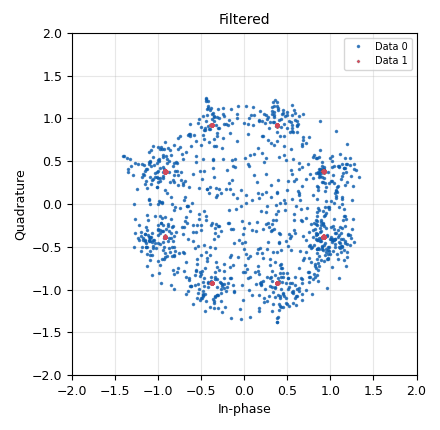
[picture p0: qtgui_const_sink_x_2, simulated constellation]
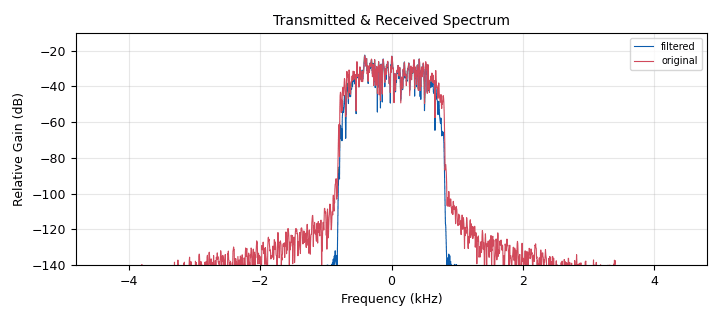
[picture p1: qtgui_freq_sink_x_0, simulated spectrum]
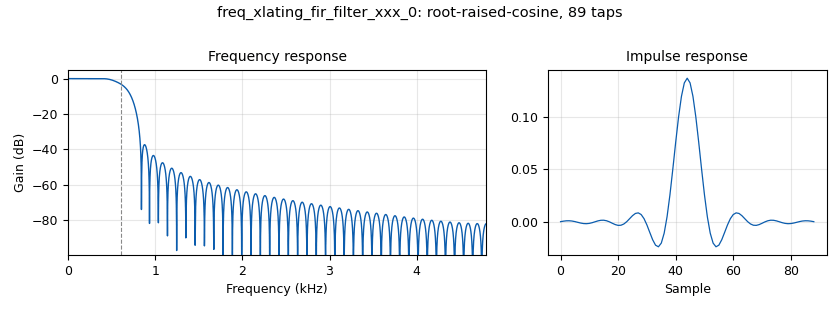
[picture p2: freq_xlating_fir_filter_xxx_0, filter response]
options:
  parameters:
    author: hyun
    generate_options: qt_gui
    id: psk8_create_v1
    output_language: python
    title: Not titled yet
  states: {}

blocks:
- name: epsilon
  id: variable_qtgui_range
  parameters:
    comment: |-
      Sets timing difference
      between transmitter
      and receiver due to
      variations in clocks.
    gui_hint: 0,10,1,10
    label: 'Channel: Timing Offset'
    orient: Qt.Horizontal
    start: '0.999'
    step: '0.0001'
    stop: '1.001'
    value: '1.000'
  states: {}
- name: excess_bw
  id: variable
  parameters:
    comment: |-
      # Power spectrum
      * 0.35: same to origin
      * 0.7 :  outside removed to origin
      * 0.87 :  more outside removed to origin

      # Constellation
      * 0.35: ok
      * 0.7 :  slim
      * 0.87 :  sharp
    value: 0.35*1
  states: {}
- name: freq_offset
  id: variable_qtgui_range
  parameters:
    comment: |-
      This accounts for differences
      in local oscillators as well as
      static Doppler shift.
    gui_hint: 1,0,1,10
    label: 'Channel: Frequency Offset'
    orient: Qt.Horizontal
    start: '-0.1'
    step: '0.001'
    stop: '0.1'
    value: '0.0'
  states: {}
- name: noise_volt
  id: variable_qtgui_range
  parameters:
    comment: |-
      Sets noise level of added
      Gaussian white noise (AWGN)
      added during transmission
      as well as antenna noise and
      LNA of receiver.
    gui_hint: 0,0,1,10
    label: 'Channel: Noise Voltage'
    orient: Qt.Horizontal
    start: '0'
    step: '0.01'
    stop: '1'
    value: '0.0'
  states: {}
- name: phase_bw
  id: variable
  parameters:
    value: 0.0628/2
  states: {}
- name: psk8
  id: variable_constellation
  parameters:
    const_points: '[1.00 + 0.00j, 0.71 + 0.71j, 0.00 + 1.00j,  -0.71 + 0.71j, -1.00 + 0.00j, -0.71 -0.71j, -0.00 -1.00j, 0.71 -0.71j]'
    precision: '8'
    sym_map: '[0, 1, 2, 3, 4, 5, 6, 7]'
    type: 8psk
  states: {}
- name: samp_rate
  id: variable
  parameters:
    value: '9600'
  states: {}
- name: sps
  id: variable
  parameters:
    value: '8'
  states: {}
- name: var_filter_taps
  id: variable_low_pass_filter_taps
  parameters:
    cutoff_freq: 2000-100
    gain: '1.0'
    samp_rate: samp_rate
    width: '80'
    win: firdes.WIN_HAMMING
  states: {state: disabled}
- name: var_filter_taps
  id: variable_rrc_filter_taps
  parameters:
    alpha: 0.35*1
    comment: |-
      better than LPF
      대여폭 바로 바깥을 더 많이 쳐버림
    gain: '1.0'
    ntaps: 11*sps
    samp_rate: samp_rate
    sym_rate: samp_rate/sps
  states: {}
- name: analog_random_source_x_0
  id: analog_random_source_x
  parameters:
    max: '256'
    min: '0'
    num_samps: '1024'
    repeat: 'True'
    type: byte
  states: {}
- name: blocks_repeat_0
  id: blocks_repeat
  parameters:
    interp: sps
    type: complex
  states: {}
- name: blocks_throttle_0
  id: blocks_throttle
  parameters:
    samples_per_second: samp_rate
    type: complex
  states: {}
- name: channels_channel_model_0
  id: channels_channel_model
  parameters:
    comment: Epsilon is timing offset
    epsilon: epsilon
    freq_offset: freq_offset
    noise_voltage: noise_volt
    seed: '0'
    taps: '1'
  states: {}
- name: digital_constellation_modulator_0
  id: digital_constellation_modulator
  parameters:
    constellation: psk8
    differential: 'False'
    excess_bw: excess_bw
    samples_per_symbol: sps
  states: {}
- name: digital_costas_loop_cc_0
  id: digital_costas_loop_cc
  parameters:
    order: '8'
    w: excess_bw
  states: {state: disabled}
- name: digital_symbol_sync_xx_0
  id: digital_symbol_sync_xx
  parameters:
    damping: '1.0'
    loop_bw: '0.045'
    max_dev: '1.5'
    osps: '1'
    resamp_type: digital.IR_MMSE_8TAP
    sps: sps
    ted_gain: '1.0'
    ted_type: digital.TED_SIGNAL_TIMES_SLOPE_ML
    type: cc
  states: {}
- name: freq_xlating_fir_filter_xxx_0
  id: freq_xlating_fir_filter_xxx
  parameters:
    center_freq: '0'
    decim: '1'
    samp_rate: samp_rate
    taps: var_filter_taps
    type: ccc
  states: {}
- name: qtgui_const_sink_x_2
  id: qtgui_const_sink_x
  parameters:
    marker1: '-1'
    name: '"Filtered"'
    nconnections: '2'
    size: '1024'
    type: complex
  states: {}
- name: qtgui_freq_sink_x_0
  id: qtgui_freq_sink_x
  parameters:
    bw: samp_rate
    fc: '0'
    fftsize: '2048'
    gui_hint: 12,0,10,20
    label1: filtered
    label2: original
    name: Transmitted & Received Spectrum
    nconnections: '2'
    type: complex
    wintype: firdes.WIN_BLACKMAN_hARRIS
    ymax: '-10'
  states: {}
- name: root_raised_cosine_filter_0
  id: root_raised_cosine_filter
  parameters:
    alpha: '0.35'
    decim: '1'
    gain: '1'
    ntaps: 11*sps
    samp_rate: samp_rate
    sym_rate: samp_rate/sps
    type: fir_filter_ccf
  states: {state: disabled}
- name: virtual_sink_0
  id: virtual_sink
  parameters:
    stream_id: filtered_signal
  states: {}
- name: virtual_sink_2
  id: virtual_sink
  parameters:
    stream_id: t1
  states: {}
- name: virtual_source_0
  id: virtual_source
  parameters:
    stream_id: filtered_signal
  states: {}
- name: virtual_source_0_0_0
  id: virtual_source
  parameters:
    stream_id: filtered_signal
  states: {}

connections:
- [analog_random_source_x_0, '0', digital_constellation_modulator_0, '0']
- [analog_random_source_x_0, '0', virtual_sink_2, '0']
- [blocks_repeat_0, '0', qtgui_const_sink_x_2, '1']
- [blocks_throttle_0, '0', channels_channel_model_0, '0']
- [channels_channel_model_0, '0', freq_xlating_fir_filter_xxx_0, '0']
- [channels_channel_model_0, '0', root_raised_cosine_filter_0, '0']
- [digital_constellation_modulator_0, '0', blocks_throttle_0, '0']
- [digital_constellation_modulator_0, '0', qtgui_const_sink_x_2, '0']
- [digital_constellation_modulator_0, '0', qtgui_freq_sink_x_0, '1']
- [digital_costas_loop_cc_0, '0', blocks_repeat_0, '0']
- [digital_symbol_sync_xx_0, '0', blocks_repeat_0, '0']
- [digital_symbol_sync_xx_0, '0', digital_costas_loop_cc_0, '0']
- [freq_xlating_fir_filter_xxx_0, '0', virtual_sink_0, '0']
- [root_raised_cosine_filter_0, '0', virtual_sink_0, '0']
- [virtual_source_0, '0', digital_symbol_sync_xx_0, '0']
- [virtual_source_0_0_0, '0', qtgui_freq_sink_x_0, '0']

metadata:
  file_format: 1
